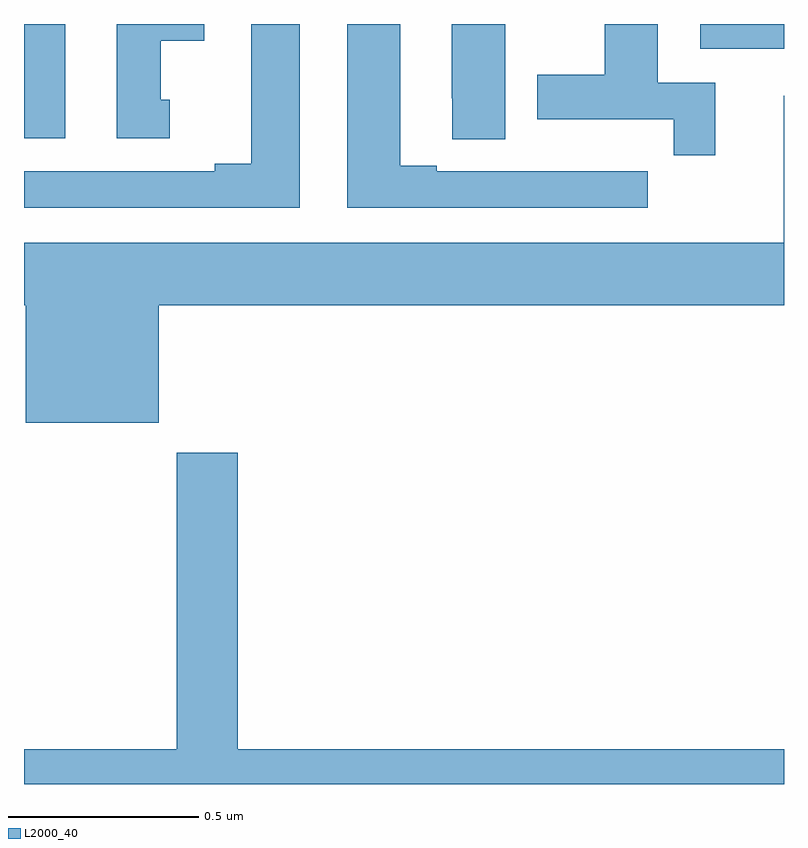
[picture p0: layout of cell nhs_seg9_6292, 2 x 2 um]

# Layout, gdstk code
import gdstk
lib = gdstk.Library(unit=1e-6, precision=1e-09)
def R(c, l, rs):  # rectangles x0, y0, x1, y1
    for r in rs: c.add(gdstk.rectangle(r[:2], r[2:], *l))
def P(c, l, *ps):  # polygons
    for p in ps: c.add(gdstk.Polygon(p, *l))
L2000_40 = (2000, 40)

nhs_seg9_6292 = lib.new_cell('nhs_seg9_6292')
R(nhs_seg9_6292, L2000_40, [(190,1190.199,190.108,1190.5), (191.78,1190.435,192,1190.5)])
P(nhs_seg9_6292, L2000_40, [(191.819,1190.346),(191.668,1190.346),(191.668,1190.5),(191.528,1190.5),(191.528,1190.367),(191.351,1190.367),(191.351,1190.25),(191.71,1190.25),(191.71,1190.154),(191.819,1190.154)],
  [(191.266,1190.5),(191.126,1190.5),(191.126,1190.305),(191.127,1190.305),(191.127,1190.197),(191.266,1190.197)],
  [(191.641,1190.112),(191.528,1190.112),(191.528,1190.113),(191.362,1190.113),(191.362,1190.112),(191.086,1190.112),(191.086,1190.127),(190.99,1190.127),(190.99,1190.5),(190.85,1190.5),(190.85,1190.016),(191.641,1190.016)],
  [(190.384,1190.301),(190.36,1190.301),(190.36,1190.456),(190.474,1190.456),(190.474,1190.5),(190.244,1190.5),(190.244,1190.199),(190.384,1190.199)],
  [(190.726,1190.5),(190.598,1190.5),(190.598,1190.132),(190.502,1190.132),(190.502,1190.112),(190,1190.112),(190,1190.016),(190.726,1190.016)],
  [(190.354,1189.76),(192,1189.76),(192,1190.311),(191.999,1190.311),(191.999,1189.924),(190,1189.924),(190,1189.76),(190.004,1189.76),(190.004,1189.451),(190.354,1189.451)],
  [(192,1188.592),(190.562,1188.592),(190.562,1189.372),(190.402,1189.372),(190.402,1188.592),(190,1188.592),(190,1188.5),(192,1188.5)])

lib.write_gds('nhs_seg9_6292.gds')
